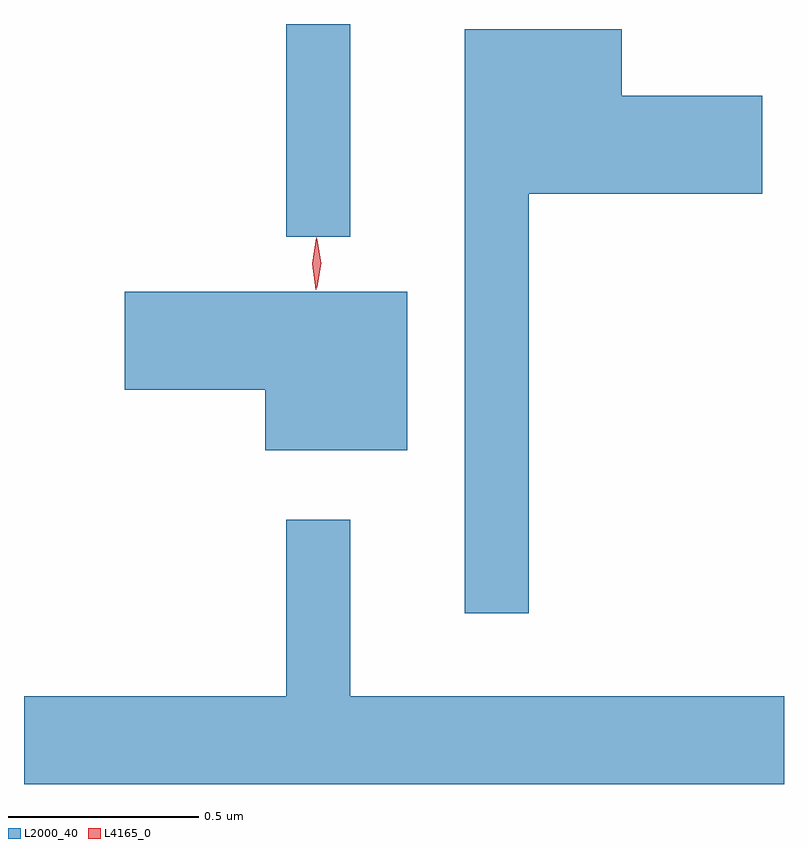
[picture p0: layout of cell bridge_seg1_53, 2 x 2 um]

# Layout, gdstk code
import gdstk
lib = gdstk.Library(unit=1e-6, precision=1e-09)
def R(c, l, rs):  # rectangles x0, y0, x1, y1
    for r in rs: c.add(gdstk.rectangle(r[:2], r[2:], *l))
def P(c, l, *ps):  # polygons
    for p in ps: c.add(gdstk.Polygon(p, *l))
L2000_40 = (2000, 40)
L4165_0 = (4165, 0)

bridge_seg1_53 = lib.new_cell('bridge_seg1_53')
R(bridge_seg1_53, L2000_40, [(1699.421,843.333,1699.589,843.893)])
P(bridge_seg1_53, L2000_40, [(1700.059,843.446),(1700.674,843.446),(1700.674,843.704),(1700.304,843.704),(1700.304,843.879),(1699.891,843.879),(1699.891,842.343),(1700.059,842.343)],
  [(1699.739,843.189),(1698.996,843.189),(1698.996,842.931),(1699.366,842.931),(1699.366,842.771),(1699.739,842.771)],
  [(1700.731,842.124),(1699.589,842.124),(1699.589,842.588),(1699.421,842.588),(1699.421,842.124),(1698.731,842.124),(1698.731,841.893),(1700.731,841.893)])
P(bridge_seg1_53, L4165_0, [(1699.502,843.2),(1699.493,843.263),(1699.502,843.326),(1699.503,843.327),(1699.503,843.326),(1699.513,843.263),(1699.503,843.2),(1699.503,843.2)],
  [(1699.499,843.194),(1699.499,843.194),(1699.49,843.262),(1699.5,843.33),(1699.501,843.33),(1699.502,843.33),(1699.51,843.262),(1699.5,843.194)])

lib.write_gds('bridge_seg1_53.gds')
